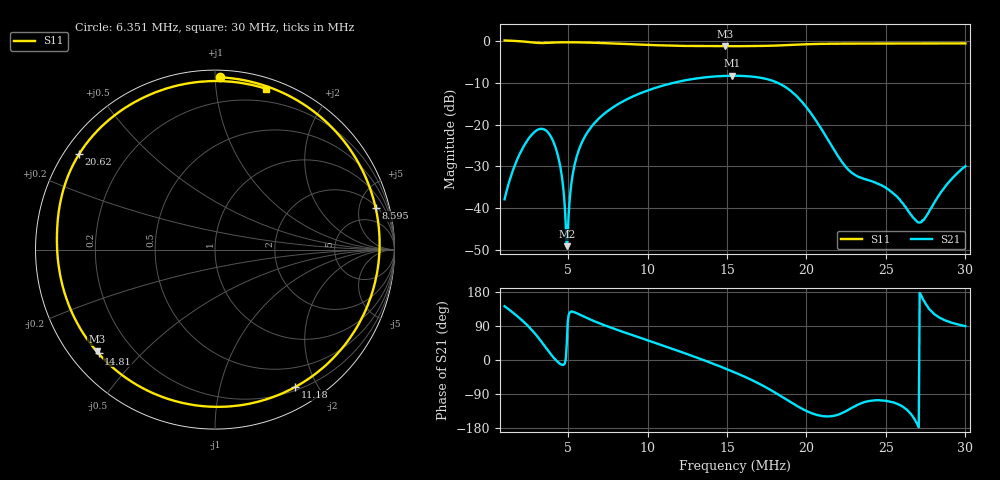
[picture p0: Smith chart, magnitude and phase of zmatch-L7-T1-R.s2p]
# HZ S RI R 50
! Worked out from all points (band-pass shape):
!   505 points, 1 MHz to 30 MHz, reference 50 ohm
!   highest |S21| = -8.30 dB at 15.33 MHz (marker M1); lowest = -49.2 dB at 4.913 MHz (marker M2)
!   |S21| within 3 dB of the highest: 10.41 MHz to 18.79 MHz (8.38 MHz wide, 57.4 % of centre)
!   lowest |S11| = -1.2 dB at 14.87 MHz (marker M3), VSWR 14.33, Z = 3.97 - j18.5 ohm
!   |S11| at or under -10 dB: nowhere
!   S12 and S22 are empty: the file has one direction only
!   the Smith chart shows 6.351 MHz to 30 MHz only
!   S11 on the Smith chart (normalised r, x): 6.351 MHz: 0.04, +1.03; 8.595 MHz: 2.24, +7.17; 11.18 MHz: 0.24, -1.72; 14.81 MHz: 0.08, -0.38; 20.62 MHz: 0.04, +0.32; 30 MHz: 0.09, +1.36
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1000000  -0.6055 0.8202  -0.00998 0.00782  0 0  0 0
1978180  0.3466 0.9355  -0.0149 0.0429  0 0  0 0
2726200  0.966 -0.0173  0.015 0.0747  0 0  0 0
3128980  0.5832 -0.7522  0.0455 0.0745  0 0  0 0
3474220  -0.1062 -0.945  0.0677 0.0558  0 0  0 0
4107160  -0.9059 -0.3267  0.0594 0.00541  0 0  0 0
4912720  -0.8253 0.5098  0.00253 0.00239  0 0  0 0
5833360  -0.2939 0.9201  -0.0275 0.0523  0 0  0 0
6351220  0.0259 0.96  -0.0268 0.0839  0 0  0 0
8595280  0.8952 0.2316  0.0603 0.1867  0 0  0 0
1.066672e7  0.6201 -0.642  0.2083 0.1903  0 0  0 0
1.118458e7  0.4465 -0.7655  0.2469 0.1724  0 0  0 0
1.48096e7  -0.649 -0.5787  0.3568 -0.1378  0 0  0 0
1.486714e7  -0.659 -0.5672  0.355 -0.1439  0 0  0 0
1.532746e7  -0.7304 -0.4725  0.3331 -0.192  0 0  0 0
1.550008e7  -0.753 -0.4361  0.3223 -0.2095  0 0  0 0
2.033344e7  -0.7825 0.4884  -0.1019 -0.0841  0 0  0 0
2.062114e7  -0.7572 0.532  -0.0894 -0.0639  0 0  0 0
2.269258e7  -0.5295 0.7703  -0.018 -0.0214  0 0  0 0
2.51668e7  -0.2299 0.9091  -0.00544 -0.0157  0 0  0 0
2.712316e7  -0.00498 0.9392  -0.00668 0.000331  0 0  0 0
3.000016e7  0.2841 0.8962  0.000395 0.0316  0 0  0 0
